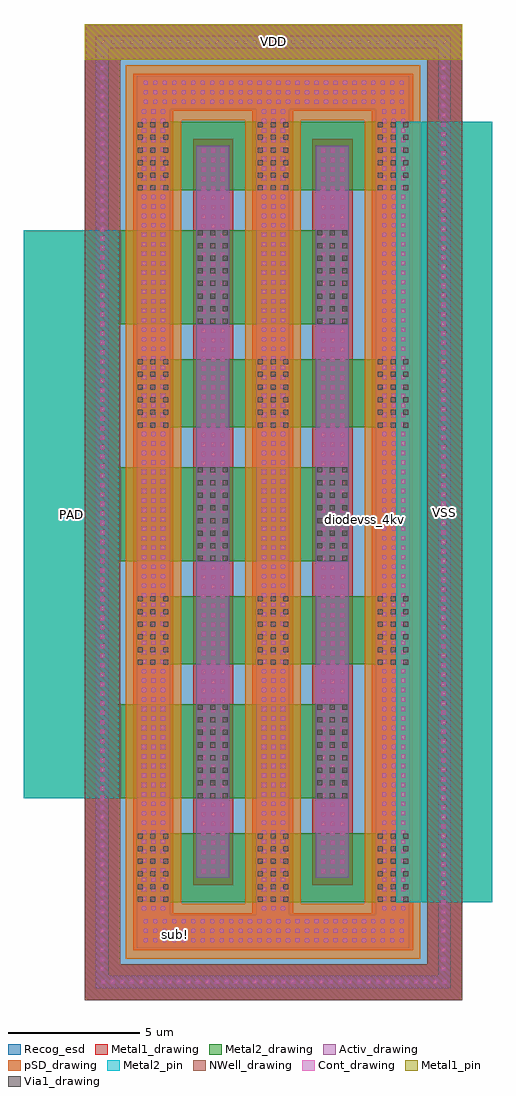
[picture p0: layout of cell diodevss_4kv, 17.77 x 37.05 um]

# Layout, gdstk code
import gdstk
lib = gdstk.Library(unit=1e-6, precision=1e-09)
def R(c, l, rs):  # rectangles x0, y0, x1, y1
    for r in rs: c.add(gdstk.rectangle(r[:2], r[2:], *l))
def A(c, l, x, y, w, h, nx, ny, dx, dy):  # array of equal rectangles
    R(c, l, [(x+i*dx, y+j*dy, x+i*dx+w, y+j*dy+h) for i in range(nx) for j in range(ny)])
def P(c, l, *ps):  # polygons
    for p in ps: c.add(gdstk.Polygon(p, *l))
Activ_drawing = (1, 0)
Cont_drawing = (6, 0)
Metal1_drawing = (8, 0)
Metal1_pin = (8, 2)
Metal2_drawing = (10, 0)
Metal2_pin = (10, 2)
pSD_drawing = (14, 0)
Via1_drawing = (19, 0)
NWell_drawing = (31, 0)
Recog_esd = (99, 30)

diodevss_4kv = lib.new_cell('diodevss_4kv')
R(diodevss_4kv, Activ_drawing, [(4.23,4.65,5.49,32.43), (8.76,4.65,10.02,32.43)])
P(diodevss_4kv, Activ_drawing, [(1.98,1.98),(1.98,3.24),(11.05,3.24),(11.05,33.81),(7.77,33.81),(7.77,3.24),(6.51,3.24),(6.51,33.81),(3.24,33.81),(3.24,3.24),(1.98,3.24),(1.98,35.07),(12.31,35.07),(12.31,1.98)],
  [(0.42,0.45),(0.42,0.93),(13.42,0.93),(13.42,36.12),(0.9,36.12),(0.9,0.93),(0.42,0.93),(0.42,36.6),(13.9,36.6),(13.9,0.45)])
A(diodevss_4kv, Cont_drawing, 0.62, 0.61, 0.16, 0.16, 37, 2, 0.36, 35.67)
A(diodevss_4kv, Cont_drawing, 0.58, 1.105, 0.16, 0.16, 1, 97, 0, 0.36)
A(diodevss_4kv, Cont_drawing, 13.54, 1.105, 0.16, 0.16, 1, 97, 0, 0.36)
A(diodevss_4kv, Cont_drawing, 2.235, 2.19, 0.16, 0.16, 28, 3, 0.36, 0.36)
A(diodevss_4kv, Cont_drawing, 2.165, 3.405, 0.16, 0.16, 3, 85, 0.36, 0.36)
A(diodevss_4kv, Cont_drawing, 6.725, 3.405, 0.16, 0.16, 3, 85, 0.36, 0.36)
A(diodevss_4kv, Cont_drawing, 11.285, 3.405, 0.16, 0.16, 3, 85, 0.36, 0.36)
A(diodevss_4kv, Cont_drawing, 4.44, 4.81, 0.16, 0.16, 3, 77, 0.36, 0.36)
A(diodevss_4kv, Cont_drawing, 8.97, 4.81, 0.16, 0.16, 3, 77, 0.36, 0.36)
A(diodevss_4kv, Cont_drawing, 2.235, 34.02, 0.16, 0.16, 28, 3, 0.36, 0.36)
R(diodevss_4kv, Metal1_drawing, [(4.11,4.35,5.64,32.7), (8.64,4.35,10.17,32.7)])
P(diodevss_4kv, Metal1_drawing, [(1.83,1.89),(1.83,3.3),(10.9,3.3),(10.9,33.75),(7.92,33.75),(7.92,3.3),(6.36,3.3),(6.36,33.75),(3.36,33.75),(3.36,3.3),(1.83,3.3),(1.83,35.16),(12.46,35.16),(12.46,1.89)],
  [(0,0),(0,1.35),(13,1.35),(13,35.7),(1.35,35.7),(1.35,1.35),(0,1.35),(0,37.05),(14.32,37.05),(14.32,0)])
R(diodevss_4kv, Metal1_pin, [(0,35.7,14.32,37.05)])
P(diodevss_4kv, Metal2_drawing, [(2.46,3.72),(2.46,3.725),(1.96,3.725),(1.96,6.325),(2.46,6.325),(2.46,6.33),(11.82,6.33),(11.82,12.72),(2.46,12.72),(2.46,12.725),(1.96,12.725),(1.96,15.325),(2.46,15.325),(2.46,15.33),(11.82,15.33),(11.82,21.72),(2.46,21.72),(2.46,21.725),(1.96,21.725),(1.96,24.325),(2.46,24.325),(2.46,24.33),(11.82,24.33),(11.82,30.72),(2.46,30.72),(2.46,30.725),(1.96,30.725),(1.96,33.325),(2.46,33.325),(2.46,33.33),(15.46,33.33),(15.46,3.72)],
  [(-2.31,7.66),(-2.31,29.22),(10.015,29.22),(10.015,25.66),(1.295,25.66),(1.295,20.22),(10.015,20.22),(10.015,16.66),(1.295,16.66),(1.295,11.22),(10.015,11.22),(10.015,7.66)])
R(diodevss_4kv, Metal2_pin, [(11.82,3.72,15.46,33.33), (-2.31,7.66,1.295,29.22)])
P(diodevss_4kv, pSD_drawing, [(1.56,1.56),(1.56,3.66),(10.63,3.66),(10.63,33.39),(8.19,33.39),(8.19,3.66),(6.09,3.66),(6.09,33.39),(3.66,33.39),(3.66,3.66),(1.56,3.66),(1.56,35.49),(12.73,35.49),(12.73,1.56)])
A(diodevss_4kv, Via1_drawing, 2.01, 3.73, 0.19, 0.19, 3, 6, 0.48, 0.48)
A(diodevss_4kv, Via1_drawing, 6.57, 3.73, 0.19, 0.19, 3, 6, 0.48, 0.48)
A(diodevss_4kv, Via1_drawing, 11.13, 3.73, 0.19, 0.19, 3, 6, 0.48, 0.48)
A(diodevss_4kv, Via1_drawing, 4.285, 7.665, 0.19, 0.19, 3, 8, 0.48, 0.48)
A(diodevss_4kv, Via1_drawing, 8.815, 7.665, 0.19, 0.19, 3, 8, 0.48, 0.48)
A(diodevss_4kv, Via1_drawing, 2.01, 12.73, 0.19, 0.19, 3, 6, 0.48, 0.48)
A(diodevss_4kv, Via1_drawing, 6.57, 12.73, 0.19, 0.19, 3, 6, 0.48, 0.48)
A(diodevss_4kv, Via1_drawing, 11.13, 12.73, 0.19, 0.19, 3, 6, 0.48, 0.48)
A(diodevss_4kv, Via1_drawing, 4.285, 16.665, 0.19, 0.19, 3, 8, 0.48, 0.48)
A(diodevss_4kv, Via1_drawing, 8.815, 16.665, 0.19, 0.19, 3, 8, 0.48, 0.48)
A(diodevss_4kv, Via1_drawing, 2.01, 21.73, 0.19, 0.19, 3, 6, 0.48, 0.48)
A(diodevss_4kv, Via1_drawing, 6.57, 21.73, 0.19, 0.19, 3, 6, 0.48, 0.48)
A(diodevss_4kv, Via1_drawing, 11.13, 21.73, 0.19, 0.19, 3, 6, 0.48, 0.48)
A(diodevss_4kv, Via1_drawing, 4.285, 25.665, 0.19, 0.19, 3, 8, 0.48, 0.48)
A(diodevss_4kv, Via1_drawing, 8.815, 25.665, 0.19, 0.19, 3, 8, 0.48, 0.48)
A(diodevss_4kv, Via1_drawing, 2.01, 30.73, 0.19, 0.19, 3, 6, 0.48, 0.48)
A(diodevss_4kv, Via1_drawing, 6.57, 30.73, 0.19, 0.19, 3, 6, 0.48, 0.48)
A(diodevss_4kv, Via1_drawing, 11.13, 30.73, 0.19, 0.19, 3, 6, 0.48, 0.48)
P(diodevss_4kv, NWell_drawing, [(0,0),(0,1.35),(13,1.35),(13,35.7),(1.35,35.7),(1.35,1.35),(0,1.35),(0,37.05),(14.32,37.05),(14.32,0)])
R(diodevss_4kv, Recog_esd, [(0,0,14.32,37.05)])
diodevss_4kv.add(gdstk.Label('VDD', (7.16,36.375), layer=63, texttype=0))
diodevss_4kv.add(gdstk.Label('VSS', (13.64,18.525), layer=63, texttype=0))
diodevss_4kv.add(gdstk.Label('PAD', (-0.51,18.442), layer=63, texttype=0))
diodevss_4kv.add(gdstk.Label('sub!', (3.445,2.495), layer=63, texttype=0))
diodevss_4kv.add(gdstk.Label('diodevss_4kv', (10.62,18.25), layer=63, texttype=0))

lib.write_gds('diodevss_4kv.gds')
